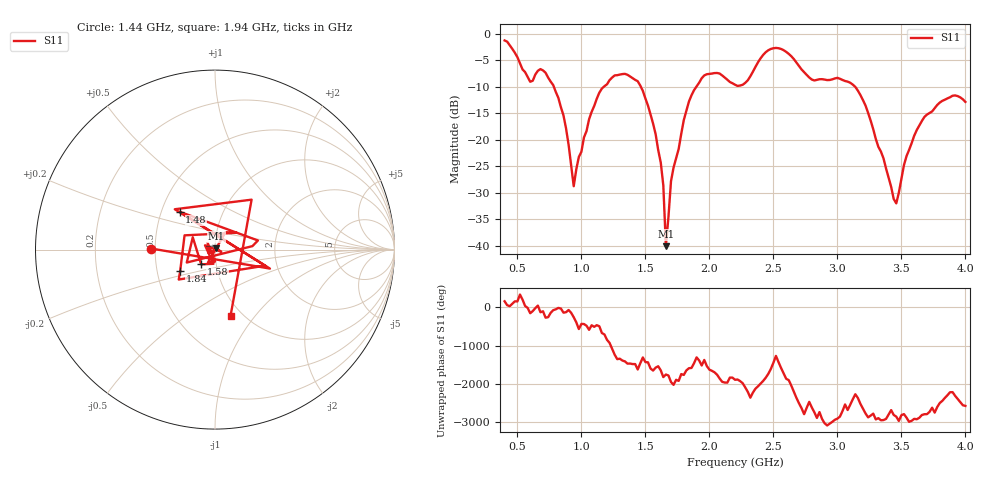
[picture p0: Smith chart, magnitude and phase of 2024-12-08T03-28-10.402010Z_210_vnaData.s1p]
!Created with skrf (http://scikit-rf.org).
# Hz S RI R 50.0
!freq ReS11 ImS11
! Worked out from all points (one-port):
!   181 points, 400 MHz to 4 GHz, reference 50 ohm
!   lowest |S11| = -40.1 dB at 1.66 GHz (marker M1), VSWR 1.02, Z = 50.7 + j0.734 ohm
!   |S11| at or under -10 dB: 784.4 MHz to 1.176 GHz (391.7 MHz wide, 40 % of centre); 1.464 GHz to 1.899 GHz (435 MHz wide, 25.9 % of centre); 3.138 GHz to end of sweep
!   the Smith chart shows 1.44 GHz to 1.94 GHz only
!   S11 on the Smith chart (normalised r, x): 1.44 GHz: 0.48, +0.01; 1.48 GHz: 0.62, +0.29; 1.58 GHz: 0.85, -0.14; 1.84 GHz: 0.66, -0.17; 1.94 GHz: 0.88, -0.76
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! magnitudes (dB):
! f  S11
! 400 MHz  -1.3
! 600 MHz  -9.1
! 720 MHz  -7.4
! 860 MHz  -15.4
! 940 MHz  -28.8
! 1.02 GHz  -19.6
! 1.12 GHz  -12.3
! 1.3 GHz  -7.7
! 1.44 GHz  -9.0
! 1.48 GHz  -10.8
! 1.58 GHz  -19.0
! 1.64 GHz  -28.7
! 1.66 GHz  -40.1
! 1.7 GHz  -27.9
! 1.76 GHz  -21.8
! 1.84 GHz  -12.8
! 1.94 GHz  -8.4
! 2.2 GHz  -9.6
! 2.48 GHz  -2.9
! 2.66 GHz  -4.8
! 2.8 GHz  -8.7
! 3.1 GHz  -9.3
! 3.22 GHz  -13.6
! 3.46 GHz  -32.0
! 3.56 GHz  -22.0
! 3.68 GHz  -15.7
! 3.8 GHz  -13.0
! 4 GHz  -12.9
